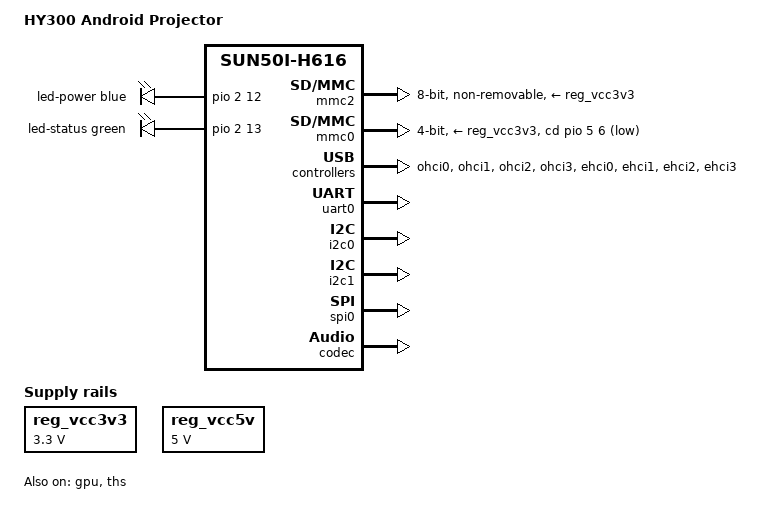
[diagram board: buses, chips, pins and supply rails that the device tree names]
// SPDX-License-Identifier: (GPL-2.0+ OR MIT)
/*
 * Device Tree for HY300 Android Projector with Allwinner H713 SoC
 * 
 * Based on hardware analysis and H616 reference architecture:
 * - Allwinner H713 SoC (sun50iw12p1, tv303 platform)
 * - H616-compatible core architecture with projector-specific features
 * - Mali-G31 GPU with Panfrost support (H616-compatible)
 * - Projector-specific hardware (motors, sensors, thermal management)
 *
 * Copyright (c) 2025 Linux on HY300 Project
 */

/dts-v1/;

#include "sun50i-h616.dtsi"
#include "sun50i-h616-cpu-opp.dtsi"

#include <dt-bindings/gpio/gpio.h>
#include <dt-bindings/interrupt-controller/arm-gic.h>
#include <dt-bindings/leds/common.h>

/ {
	model = "HY300 Android Projector";
	compatible = "hy300,projector", "allwinner,sun50i-h713", "allwinner,sun50i-h616";

	aliases {
		serial0 = &uart0;
		mmc0 = &mmc2;  /* eMMC */
		mmc1 = &mmc0;  /* SD card */
	};

	chosen {
		stdout-path = "serial0:115200n8";
	};

	/*
	 * HY300 Projector Power Management
	 * Based on factory DTB analysis - 3.3V and 5V rails
	 */
	reg_vcc3v3: vcc3v3 {
		compatible = "regulator-fixed";
		regulator-name = "vcc-3v3";
		regulator-min-microvolt = <3300000>;
		regulator-max-microvolt = <3300000>;
		regulator-always-on;
	};

	reg_vcc5v: vcc5v {
		compatible = "regulator-fixed"; 
		regulator-name = "vcc-5v";
		regulator-min-microvolt = <5000000>;
		regulator-max-microvolt = <5000000>;
		regulator-always-on;
	};

	/*
	 * HY300 Projector Status LEDs
	 * Factory DTB shows power and status LED configuration
	 */
	leds {
		compatible = "gpio-leds";

		led-power {
			function = LED_FUNCTION_POWER;
			color = <LED_COLOR_ID_BLUE>;
			gpios = <&pio 2 12 GPIO_ACTIVE_HIGH>; /* PC12 - Power LED */
			default-state = "on";
		};

		led-status {
			function = LED_FUNCTION_STATUS;
			color = <LED_COLOR_ID_GREEN>;
			gpios = <&pio 2 13 GPIO_ACTIVE_HIGH>; /* PC13 - Status LED */
		};
	};

	/*
	 * HY300 Projector Thermal Management
	 * Factory DTB shows thermal zones for SoC and projector components
	 */
	thermal-zones {
		cpu-thermal {
			polling-delay-passive = <0>;
			polling-delay = <1000>;
			thermal-sensors = <&ths 2>;
			sustainable-power = <1000>;

			trips {
				cpu_warm: cpu-warm {
					temperature = <75000>;
					hysteresis = <2000>;
					type = "passive";
				};

				cpu_hot_pre: cpu-hot-pre {
					temperature = <80000>;
					hysteresis = <2000>;
					type = "passive";
				};

				cpu_hot: cpu-hot {
					temperature = <85000>;
					hysteresis = <2000>;
					type = "passive";
				};

				cpu_emergency: cpu-emergency {
					temperature = <105000>;
					hysteresis = <5000>;
					type = "critical";
				};
			};

			cooling-maps {
				map0 {
					trip = <&cpu_warm>;
					cooling-device = <&cpu0 THERMAL_NO_LIMIT 1>;
				};

				map1 {
					trip = <&cpu_hot_pre>;
					cooling-device = <&cpu0 1 2>;
				};

				map2 {
					trip = <&cpu_hot>;
					cooling-device = <&cpu0 2 THERMAL_NO_LIMIT>;
				};
			};
		};
	};
};

/*
 * CPU Power Supply Configuration  
 * H616-compatible CPU scaling with projector-optimized voltages
 */
&cpu0 {
	cpu-supply = <&reg_vcc3v3>;
};

/*
 * Mali-G31 GPU Configuration
 * Using H616 Mali-G31 Panfrost configuration directly
 */
&gpu {
	mali-supply = <&reg_vcc3v3>;
	status = "okay";
};

/*
 * eMMC Storage Configuration
 * HY300 uses mmc2 for internal eMMC (8GB/16GB variants)
 */
&mmc2 {
	vmmc-supply = <&reg_vcc3v3>;
	vqmmc-supply = <&reg_vcc3v3>;
	cap-mmc-hw-reset;
	non-removable;
	mmc-ddr-1_8v;
	mmc-hs200-1_8v;
	bus-width = <8>;
	status = "okay";
};

/*
 * SD Card Configuration  
 * HY300 supports microSD card expansion
 */
&mmc0 {
	vmmc-supply = <&reg_vcc3v3>;
	vqmmc-supply = <&reg_vcc3v3>;
	cd-gpios = <&pio 5 6 GPIO_ACTIVE_LOW>; /* PF6 */
	bus-width = <4>;
	status = "okay";
};

/*
 * USB Host Configuration
 * HY300 has USB-A ports for external devices
 */
&ohci0 {
	status = "okay";
};

&ohci1 {
	status = "okay";
};

&ohci2 {
	status = "okay";
};

&ohci3 {
	status = "okay";
};

&ehci0 {
	status = "okay";
};

&ehci1 {
	status = "okay";
};

&ehci2 {
	status = "okay";
};

&ehci3 {
	status = "okay";
};

/*
 * UART Configuration
 * uart0 is the main serial console
 */
&uart0 {
	pinctrl-names = "default";
	pinctrl-0 = <&uart0_ph_pins>;
	status = "okay";
};

/*
 * I2C Configuration
 * Used for projector sensors and control
 */
&i2c0 {
	status = "okay";
	
	/* Projector sensors and controls would be defined here */
};

&i2c1 {
	status = "okay";
};

/*
 * SPI Configuration  
 * May be used for projector motor control
 */
&spi0 {
	status = "okay";
	
	/* Projector motor controllers would be defined here */
};

/*
 * Audio Configuration
 * HY300 has built-in speakers and audio output
 * Note: H616 has basic codec support, advanced audio features TBD
 */
&codec {
	allwinner,audio-routing =
		"Line Out", "LINEOUT";
	status = "okay";
};

/*
 * Display Configuration  
 * H713 display engine support will be added in future phases
 * H616 base doesn't include display engine nodes
 * This requires additional H713-specific display driver work
 */

/*
 * Thermal Sensor Configuration
 * Critical for projector thermal management
 */
&ths {
	status = "okay";
	vref-supply = <&reg_vcc3v3>;
};

/*
 * Power Management IC Configuration
 * Note: HY300 may use different PMIC - needs hardware verification
 */
&r_rsb {
	status = "okay";
	
	/* PMIC configuration would go here once identified */
};

/*
 * GPIO Configuration
 * Projector-specific GPIO assignments from factory DTB analysis
 */
&pio {
	vcc-pa-supply = <&reg_vcc3v3>;
	vcc-pb-supply = <&reg_vcc3v3>;
	vcc-pc-supply = <&reg_vcc3v3>;
	vcc-pd-supply = <&reg_vcc3v3>;
	vcc-pe-supply = <&reg_vcc3v3>;
	vcc-pf-supply = <&reg_vcc3v3>;
	vcc-pg-supply = <&reg_vcc3v3>;
	vcc-ph-supply = <&reg_vcc3v3>;
	vcc-pi-supply = <&reg_vcc3v3>;
};

&r_pio {
	vcc-pl-supply = <&reg_vcc3v3>;
	vcc-pm-supply = <&reg_vcc3v3>;
};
